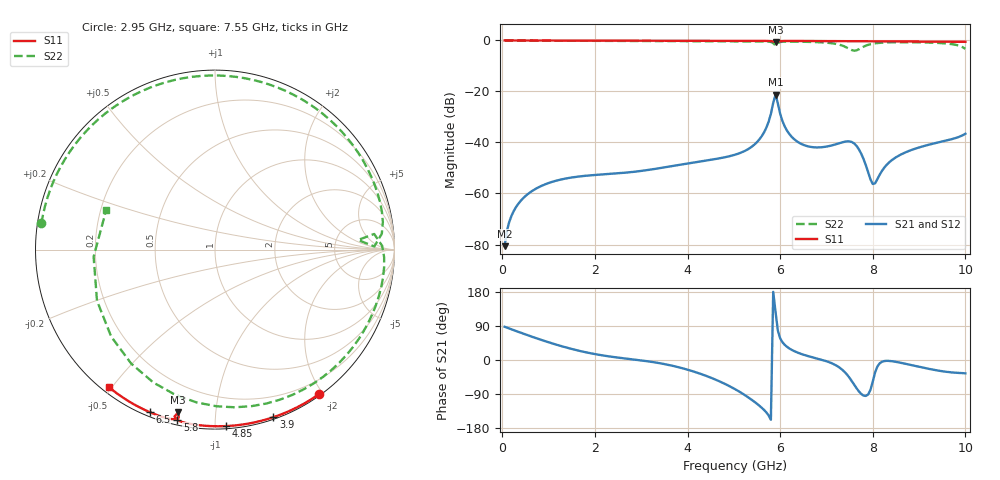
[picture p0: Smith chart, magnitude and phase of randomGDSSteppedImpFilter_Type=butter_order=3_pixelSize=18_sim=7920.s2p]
! freq	dB(S11)	phase(S11)	dB(S12)	phase(S12)
!  dB(S21)	phase(S21)	dB(S22)	phase(S22)
!S-par simulation data
#  GHz  S  DB  R 50
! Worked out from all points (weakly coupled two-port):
!   200 points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, 50 MHz to 10 GHz, reference 50 ohm
!   highest |S21| = -21.19 dB at 5.9 GHz (marker M1); lowest = -80.7 dB at 50 MHz (marker M2)
!   lowest |S11| = -0.6 dB at 5.9 GHz (marker M3), VSWR 27.43, Z = 2.98 - j39.9 ohm
!   |S11| at or under -10 dB: nowhere
!   |S22| runs from -4.0 to 0.0 dB; largest |S21 - S12| = 0
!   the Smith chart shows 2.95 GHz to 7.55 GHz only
!   S11 on the Smith chart (normalised r, x): 2.95 GHz: 0.02, -1.94; 3.9 GHz: 0.02, -1.41; 4.85 GHz: 0.02, -1.06; 5.8 GHz: 0.02, -0.80; 6.5 GHz: 0.02, -0.68; 7.55 GHz: 0.02, -0.49
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0.05  -0.00 -1.0  -80.66 87.7  -80.66 87.7  -0.00 -3.6
0.2  -0.01 -3.8  -68.68 80.8  -68.68 80.8  -0.02 -14.5
0.5  -0.01 -9.5  -61.00 67.5  -61.00 67.5  -0.05 -35.8
1.75  -0.04 -32.9  -53.14 21.8  -53.14 21.8  -0.13 -118.4
2.95  -0.07 -54.5  -51.27 -0.3  -51.27 -0.3  -0.19 171.4
3.4  -0.08 -62.3  -50.07 -8.5  -50.07 -8.5  -0.21 145.9
3.9  -0.10 -70.8  -48.55 -22.1  -48.55 -22.1  -0.24 117.5
4.85  -0.13 -86.5  -45.62 -65.6  -45.62 -65.6  -0.29 63.0
5.05  -0.14 -89.7  -44.66 -78.6  -44.66 -78.6  -0.30 51.5
5.8  -0.25 -102.5  -28.79 -157.8  -28.79 -157.8  -0.60 5.4
5.9  -0.63 -102.8  -21.19 127.4  -21.19 127.4  -1.95 3.9
6.15  -0.20 -106.2  -35.41 34.6  -35.41 34.6  -0.45 -9.4
6.5  -0.21 -111.9  -40.91 14.1  -40.91 14.1  -0.51 -32.0
6.7  -0.23 -114.9  -41.83 7.1  -41.83 7.1  -0.60 -45.9
7.25  -0.26 -123.2  -40.45 -17.4  -40.45 -17.4  -1.52 -105.1
7.55  -0.29 -127.7  -39.84 -56.1  -39.84 -56.1  -3.80 159.8
7.7  -0.30 -130.0  -42.68 -82.8  -42.68 -82.8  -3.47 81.2
7.9  -0.31 -132.9  -51.64 -90.9  -51.64 -90.9  -1.72 13.6
8.05  -0.33 -135.2  -55.98 -32.9  -55.98 -32.9  -1.13 -13.6
8.35  -0.36 -139.6  -47.87 -2.4  -47.87 -2.4  -0.75 -45.4
9.35  -0.46 -154.7  -40.25 -26.6  -40.25 -26.6  -0.92 -103.9
10  -0.54 -164.7  -36.58 -35.3  -36.58 -35.3  -3.31 -161.2
